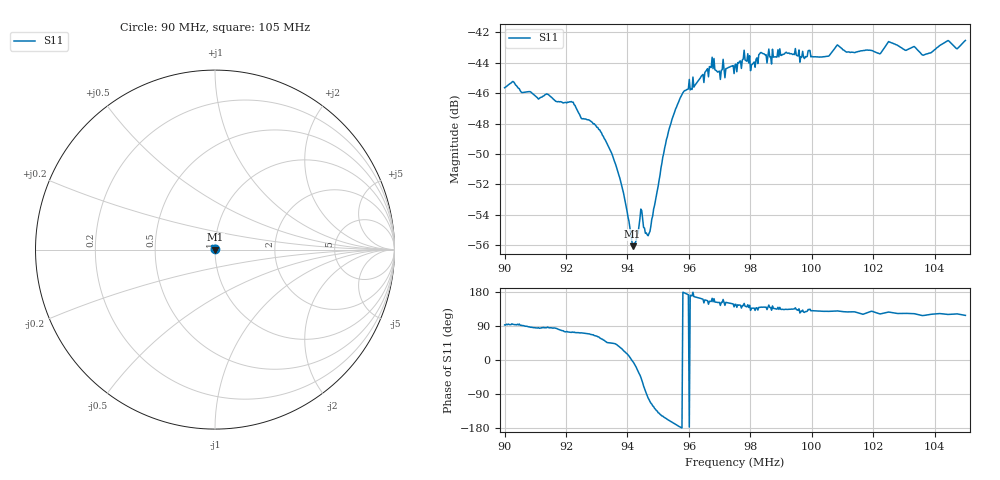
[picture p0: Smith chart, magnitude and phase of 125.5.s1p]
# HZ S RI R 50
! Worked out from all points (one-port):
!   505 points, 90 MHz to 105 MHz, reference 50 ohm
!   lowest |S11| = -56.1 dB at 94.17 MHz (marker M1), VSWR 1.00, Z = 50.2 - j0.0092 ohm
!   |S11| at or under -10 dB: start of sweep to end of sweep
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9e7  -0.000233 0.00521
9.026786e7  -0.000386 0.00546
9.187501e7  0.00103 0.00456
9.220239e7  0.00129 0.0045
9.309525e7  0.00199 0.00323
9.375001e7  0.00219 0.00147
9.416668e7  0.00157 -9.17e-05
9.428573e7  0.00156 -0.000544
9.443454e7  0.00146 -0.00149
9.458335e7  0.000225 -0.00172
9.47024e7  -0.00044 -0.00168
9.526787e7  -0.00319 -0.0015
9.562502e7  -0.00455 -0.000597
9.675597e7  -0.00629 0.00194
9.696431e7  -0.0052 0.00279
9.750002e7  -0.0052 0.00338
9.785717e7  -0.00498 0.00403
9.80655e7  -0.00453 0.00428
9.833336e7  -0.00516 0.00445
9.937503e7  -0.00467 0.00482
1.004762e8  -0.00412 0.00518
1.008334e8  -0.00459 0.00557
1.0125e8  -0.0041 0.00545
1.022024e8  -0.00358 0.00573
1.025298e8  -0.00436 0.00596
1.03125e8  -0.0038 0.00586
1.036608e8  -0.00311 0.00593
1.05e8  -0.00347 0.00661
